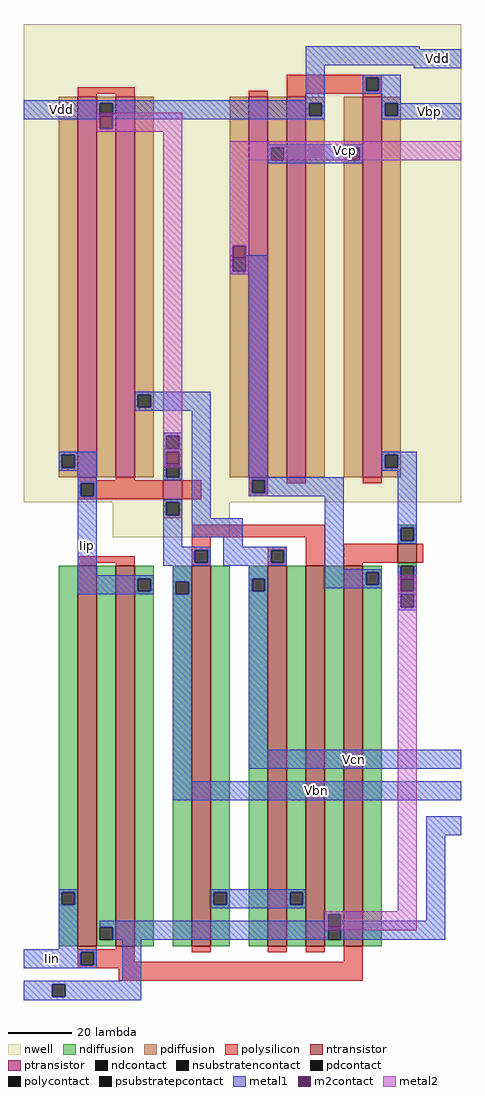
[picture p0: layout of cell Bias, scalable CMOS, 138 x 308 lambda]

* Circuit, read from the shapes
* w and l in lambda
.subckt Bias Iin Iip Vbn Vbp Vcn Vcp Vdd
M1 VSUBS Iin Iin VSUBS nfet w=120 l=6
M2 Iip Iin VSUBS VSUBS nfet w=120 l=6
M3 n1 Vbn Vbn VSUBS nfet w=120 l=6
M4 n1 Vcn Vcn VSUBS nfet w=120 l=6
M5 VSUBS Vbn n1 VSUBS nfet w=120 l=6
M6 Vcp Iin VSUBS VSUBS nfet w=120 l=6
M7 Vbp Iin VSUBS VSUBS nfet w=6 l=6
M8 Vdd Iip Iip Vdd pfet w=120 l=6
M9 Vcn Iip Vdd Vdd pfet w=120 l=6
M10 Vdd Iip Vbn Vdd pfet w=6 l=6
M11 n2 Vcp Vcp Vdd pfet w=120 l=6
M12 Vdd Vbp n2 Vdd pfet w=120 l=6
M13 Vbp Vbp n2 Vdd pfet w=120 l=6
.ends

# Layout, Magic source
magic
tech scmos
<< nwell >>
rect 69 -109 207 42
rect 97 -120 134 -109
<< ntransistor >>
rect 187 -128 193 -122
rect 86 -249 92 -129
rect 98 -249 104 -129
rect 122 -249 128 -129
rect 146 -249 152 -129
rect 158 -249 164 -129
rect 170 -249 176 -129
<< ptransistor >>
rect 86 -101 92 19
rect 98 -101 104 19
rect 140 -101 146 19
rect 152 -101 158 19
rect 176 -101 182 19
rect 113 -108 119 -102
<< ndiffusion >>
rect 187 -117 193 -116
rect 187 -121 188 -117
rect 192 -121 193 -117
rect 187 -122 193 -121
rect 187 -129 193 -128
rect 80 -232 86 -129
rect 80 -236 81 -232
rect 85 -236 86 -232
rect 80 -249 86 -236
rect 92 -243 98 -129
rect 92 -247 93 -243
rect 97 -247 98 -243
rect 92 -249 98 -247
rect 104 -133 110 -129
rect 104 -137 105 -133
rect 109 -137 110 -133
rect 104 -249 110 -137
rect 116 -134 122 -129
rect 116 -138 117 -134
rect 121 -138 122 -134
rect 116 -249 122 -138
rect 128 -232 134 -129
rect 128 -236 129 -232
rect 133 -236 134 -232
rect 128 -249 134 -236
rect 140 -133 146 -129
rect 140 -137 141 -133
rect 145 -137 146 -133
rect 140 -249 146 -137
rect 152 -232 158 -129
rect 152 -236 153 -232
rect 157 -236 158 -232
rect 152 -249 158 -236
rect 164 -243 170 -129
rect 164 -247 165 -243
rect 169 -247 170 -243
rect 164 -249 170 -247
rect 176 -131 182 -129
rect 176 -135 177 -131
rect 181 -135 182 -131
rect 176 -249 182 -135
rect 187 -133 188 -129
rect 192 -133 193 -129
rect 187 -138 193 -133
<< pdiffusion >>
rect 80 -94 86 19
rect 80 -98 81 -94
rect 85 -98 86 -94
rect 80 -101 86 -98
rect 92 17 98 19
rect 92 13 93 17
rect 97 13 98 17
rect 92 -101 98 13
rect 104 -75 110 19
rect 104 -79 105 -75
rect 109 -79 110 -75
rect 104 -101 110 -79
rect 134 -32 140 19
rect 134 -36 135 -32
rect 139 -36 140 -32
rect 113 -97 119 -92
rect 113 -101 114 -97
rect 118 -101 119 -97
rect 134 -101 140 -36
rect 146 3 152 19
rect 146 -1 147 3
rect 151 -1 152 3
rect 146 -101 152 -1
rect 158 17 164 19
rect 158 13 159 17
rect 163 13 164 17
rect 158 -101 164 13
rect 170 3 176 19
rect 170 -1 171 3
rect 175 -1 176 3
rect 170 -101 176 -1
rect 182 17 188 19
rect 182 13 183 17
rect 187 13 188 17
rect 182 -94 188 13
rect 182 -98 183 -94
rect 187 -98 188 -94
rect 182 -101 188 -98
rect 113 -102 119 -101
rect 113 -109 119 -108
rect 113 -113 114 -109
rect 118 -113 119 -109
rect 113 -114 119 -113
<< ndcontact >>
rect 188 -121 192 -117
rect 81 -236 85 -232
rect 93 -247 97 -243
rect 105 -137 109 -133
rect 117 -138 121 -134
rect 129 -236 133 -232
rect 141 -137 145 -133
rect 153 -236 157 -232
rect 165 -247 169 -243
rect 177 -135 181 -131
rect 188 -133 192 -129
<< pdcontact >>
rect 81 -98 85 -94
rect 93 13 97 17
rect 105 -79 109 -75
rect 135 -36 139 -32
rect 114 -101 118 -97
rect 147 -1 151 3
rect 159 13 163 17
rect 171 -1 175 3
rect 183 13 187 17
rect 183 -98 187 -94
rect 114 -113 118 -109
<< psubstratepcontact >>
rect 188 -142 192 -138
rect 78 -265 82 -261
<< nsubstratencontact >>
rect 114 -92 118 -88
<< polysilicon >>
rect 152 25 182 26
rect 86 20 104 22
rect 152 21 177 25
rect 181 21 182 25
rect 86 19 92 20
rect 98 19 104 20
rect 140 19 146 21
rect 152 20 182 21
rect 152 19 158 20
rect 176 19 182 20
rect 86 -102 92 -101
rect 98 -102 104 -101
rect 140 -102 146 -101
rect 86 -103 113 -102
rect 86 -107 87 -103
rect 91 -107 113 -103
rect 86 -108 113 -107
rect 119 -108 125 -102
rect 140 -106 141 -102
rect 145 -106 146 -102
rect 152 -103 158 -101
rect 176 -103 182 -101
rect 140 -107 146 -106
rect 122 -120 164 -116
rect 122 -124 128 -120
rect 86 -128 104 -126
rect 86 -129 92 -128
rect 98 -129 104 -128
rect 122 -128 123 -124
rect 127 -128 128 -124
rect 122 -129 128 -128
rect 146 -124 152 -123
rect 146 -128 147 -124
rect 151 -128 152 -124
rect 146 -129 152 -128
rect 158 -129 164 -120
rect 170 -128 187 -122
rect 193 -128 195 -122
rect 170 -129 176 -128
rect 86 -250 92 -249
rect 98 -250 104 -249
rect 86 -251 104 -250
rect 122 -251 128 -249
rect 146 -251 152 -249
rect 158 -251 164 -249
rect 86 -255 87 -251
rect 91 -254 104 -251
rect 170 -254 176 -249
rect 91 -255 176 -254
rect 86 -256 176 -255
rect 99 -260 176 -256
<< polycontact >>
rect 177 21 181 25
rect 87 -107 91 -103
rect 141 -106 145 -102
rect 123 -128 127 -124
rect 147 -128 151 -124
rect 87 -255 91 -251
<< metal1 >>
rect 158 34 194 35
rect 158 29 207 34
rect 158 18 164 29
rect 192 28 207 29
rect 176 25 188 26
rect 176 21 177 25
rect 181 21 188 25
rect 176 20 188 21
rect 69 17 164 18
rect 69 12 93 17
rect 97 13 159 17
rect 163 13 164 17
rect 97 12 164 13
rect 182 17 188 20
rect 182 13 183 17
rect 187 13 207 17
rect 182 12 207 13
rect 146 3 176 4
rect 146 -1 147 3
rect 151 -1 171 3
rect 175 -1 176 3
rect 146 -2 176 -1
rect 134 -36 135 -31
rect 139 -36 146 -31
rect 134 -37 146 -36
rect 104 -75 128 -74
rect 104 -79 105 -75
rect 109 -79 128 -75
rect 104 -80 128 -79
rect 113 -88 119 -87
rect 113 -92 114 -88
rect 118 -92 119 -88
rect 113 -93 119 -92
rect 80 -94 92 -93
rect 80 -98 81 -94
rect 85 -98 92 -94
rect 80 -99 92 -98
rect 86 -103 92 -99
rect 113 -101 114 -93
rect 118 -101 119 -93
rect 113 -102 119 -101
rect 86 -107 87 -103
rect 91 -107 92 -103
rect 86 -132 92 -107
rect 113 -109 119 -108
rect 113 -113 114 -109
rect 118 -113 119 -109
rect 113 -123 119 -113
rect 122 -114 128 -80
rect 140 -101 146 -37
rect 182 -94 193 -93
rect 182 -98 183 -94
rect 187 -98 193 -94
rect 182 -99 193 -98
rect 140 -102 170 -101
rect 140 -106 141 -102
rect 145 -106 170 -102
rect 140 -107 170 -106
rect 122 -120 138 -114
rect 132 -123 138 -120
rect 113 -124 128 -123
rect 113 -128 123 -124
rect 127 -128 128 -124
rect 113 -129 128 -128
rect 132 -124 152 -123
rect 132 -128 147 -124
rect 151 -128 152 -124
rect 132 -129 152 -128
rect 86 -133 110 -132
rect 86 -137 105 -133
rect 109 -137 110 -133
rect 86 -138 110 -137
rect 116 -134 122 -129
rect 116 -138 117 -134
rect 121 -138 122 -134
rect 116 -197 122 -138
rect 140 -133 146 -129
rect 140 -137 141 -133
rect 145 -137 146 -133
rect 164 -130 170 -107
rect 187 -117 193 -99
rect 187 -121 188 -117
rect 192 -121 193 -117
rect 187 -122 193 -121
rect 164 -131 182 -130
rect 164 -135 177 -131
rect 181 -135 182 -131
rect 164 -136 182 -135
rect 140 -187 146 -137
rect 187 -137 188 -129
rect 192 -137 193 -129
rect 187 -138 193 -137
rect 187 -142 188 -138
rect 192 -142 193 -138
rect 187 -143 193 -142
rect 140 -193 207 -187
rect 116 -203 207 -197
rect 196 -214 207 -208
rect 80 -232 86 -231
rect 80 -236 81 -232
rect 85 -236 86 -232
rect 80 -250 86 -236
rect 128 -232 158 -231
rect 128 -236 129 -232
rect 133 -236 153 -232
rect 157 -236 158 -232
rect 128 -237 158 -236
rect 93 -243 165 -241
rect 196 -241 202 -214
rect 97 -247 165 -243
rect 169 -247 202 -241
rect 69 -251 92 -250
rect 69 -255 87 -251
rect 91 -255 92 -251
rect 69 -256 92 -255
rect 100 -260 106 -247
rect 69 -261 106 -260
rect 69 -265 78 -261
rect 82 -265 106 -261
rect 69 -266 106 -265
<< m2contact >>
rect 93 9 97 13
rect 135 -32 139 -28
rect 114 -97 118 -93
rect 188 -137 192 -133
rect 165 -243 169 -239
<< metal2 >>
rect 92 13 119 14
rect 92 9 93 13
rect 97 9 119 13
rect 92 8 119 9
rect 113 -93 119 8
rect 134 -1 207 5
rect 134 -28 140 -1
rect 134 -32 135 -28
rect 139 -32 140 -28
rect 134 -37 140 -32
rect 113 -97 114 -93
rect 118 -97 119 -93
rect 113 -98 119 -97
rect 187 -133 193 -132
rect 187 -137 188 -133
rect 192 -137 193 -133
rect 187 -238 193 -137
rect 164 -239 193 -238
rect 164 -243 165 -239
rect 169 -243 193 -239
rect 164 -244 193 -243
<< labels >>
rlabel metal1 192 28 207 34 1 Vdd
rlabel metal1 187 12 207 17 1 Vbp
rlabel metal2 134 -1 207 5 1 Vcp
rlabel metal1 140 -193 207 -187 1 Vcn
rlabel metal1 116 -203 207 -197 1 Vbn
rlabel metal1 69 -256 87 -250 1 Iin
rlabel metal1 69 12 93 18 1 Vdd
rlabel metal1 86 -138 92 -107 1 Iip
<< end >>
